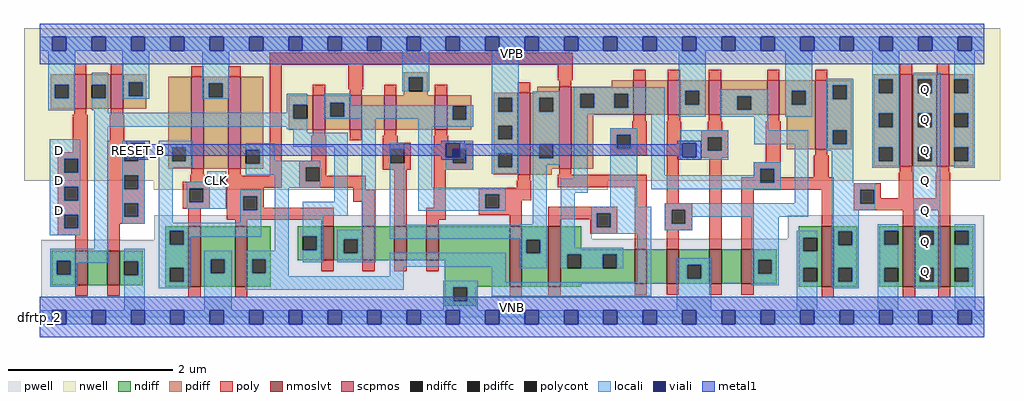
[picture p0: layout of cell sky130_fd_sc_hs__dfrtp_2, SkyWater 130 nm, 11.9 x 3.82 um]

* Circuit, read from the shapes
.subckt sky130_fd_sc_hs__dfrtp_2 CLK D RESET_B VGND VNB VPB VPWR Q
XM1 n1 D n2 VNB sky130_fd_pr__nfet_01v8_lvt w=0.42 l=0.15
XM2 VGND RESET_B n1 VNB sky130_fd_pr__nfet_01v8_lvt w=0.42 l=0.15
XM3 VGND CLK n3 VNB sky130_fd_pr__nfet_01v8_lvt w=0.74 l=0.15
XM4 n4 n3 VGND VNB sky130_fd_pr__nfet_01v8_lvt w=0.74 l=0.15
XM5 n5 n3 n2 VNB sky130_fd_pr__nfet_01v8_lvt w=0.42 l=0.15
XM6 n6 n4 n5 VNB sky130_fd_pr__nfet_01v8_lvt w=0.42 l=0.15
XM7 n7 n8 n6 VNB sky130_fd_pr__nfet_01v8_lvt w=0.42 l=0.15
XM8 VGND RESET_B n7 VNB sky130_fd_pr__nfet_01v8_lvt w=0.42 l=0.15
XM9 n8 n5 VGND VNB sky130_fd_pr__nfet_01v8_lvt w=0.74 l=0.15
XM10 n9 n4 n8 VNB sky130_fd_pr__nfet_01v8_lvt w=0.74 l=0.15
XM11 n10 n3 n9 VNB sky130_fd_pr__nfet_01v8_lvt w=0.42 l=0.15
XM12 VGND n11 n10 VNB sky130_fd_pr__nfet_01v8_lvt w=0.42 l=0.15
XM13 n12 RESET_B VGND VNB sky130_fd_pr__nfet_01v8_lvt w=0.42 l=0.15
XM14 n11 n9 n12 VNB sky130_fd_pr__nfet_01v8_lvt w=0.42 l=0.15
XM15 n13 n9 VGND VNB sky130_fd_pr__nfet_01v8_lvt w=0.74 l=0.15
XM16 Q n13 VGND VNB sky130_fd_pr__nfet_01v8_lvt w=0.74 l=0.15 m=2
XM17 n2 D VPWR VPB sky130_fd_pr__pfet_01v8 w=0.42 l=0.15
XM18 VPWR RESET_B n2 VPB sky130_fd_pr__pfet_01v8 w=0.42 l=0.15
XM19 VPWR CLK n3 VPB sky130_fd_pr__pfet_01v8 w=1.12 l=0.15
XM20 n4 n3 VPWR VPB sky130_fd_pr__pfet_01v8 w=1.12 l=0.15
XM21 n5 n4 n2 VPB sky130_fd_pr__pfet_01v8 w=0.42 l=0.15
XM22 n14 n3 n5 VPB sky130_fd_pr__pfet_01v8 w=0.42 l=0.15
XM23 VPWR n8 n14 VPB sky130_fd_pr__pfet_01v8 w=0.42 l=0.15
XM24 n5 RESET_B VPWR VPB sky130_fd_pr__pfet_01v8 w=0.42 l=0.15
XM25 n8 n5 VPWR VPB sky130_fd_pr__pfet_01v8 w=1 l=0.15
XM26 n9 n3 n8 VPB sky130_fd_pr__pfet_01v8 w=1 l=0.15
XM27 n15 n4 n9 VPB sky130_fd_pr__pfet_01v8 w=0.42 l=0.15
XM28 VPWR n11 n15 VPB sky130_fd_pr__pfet_01v8 w=0.42 l=0.15
XM29 n11 RESET_B VPWR VPB sky130_fd_pr__pfet_01v8 w=0.42 l=0.15
XM30 VPWR n9 n11 VPB sky130_fd_pr__pfet_01v8 w=0.42 l=0.15
XM31 n13 n9 VPWR VPB sky130_fd_pr__pfet_01v8 w=0.84 l=0.15
XM32 Q n13 VPWR VPB sky130_fd_pr__pfet_01v8 w=1.12 l=0.15 m=2
.ends

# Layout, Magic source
magic
tech sky130A
magscale 1 2
<< nwell >>
rect -38 332 2342 704
rect 278 311 1386 332
<< pwell >>
rect 280 191 1347 248
rect 1825 191 2303 248
rect 280 188 2303 191
rect 4 49 2303 188
rect 0 0 2304 49
<< scpmos >>
rect 84 508 114 592
rect 174 508 204 592
rect 370 362 400 586
rect 460 362 490 586
rect 666 457 696 541
rect 756 457 786 541
rect 840 457 870 541
rect 964 457 994 541
rect 1166 347 1196 547
rect 1267 362 1297 562
rect 1448 493 1478 577
rect 1532 493 1562 577
rect 1632 493 1662 577
rect 1774 493 1804 577
rect 1891 409 1921 577
rect 2098 368 2128 592
rect 2188 368 2218 592
<< nmoslvt >>
rect 87 78 117 162
rect 165 78 195 162
rect 363 74 393 222
rect 477 74 507 222
rect 687 138 717 222
rect 787 138 817 222
rect 865 138 895 222
rect 943 138 973 222
rect 1146 74 1176 222
rect 1241 74 1271 222
rect 1451 81 1481 165
rect 1529 81 1559 165
rect 1633 81 1663 165
rect 1711 81 1741 165
rect 1907 74 1937 222
rect 2105 74 2135 222
rect 2191 74 2221 222
<< ndiff >>
rect 306 210 363 222
rect 306 176 318 210
rect 352 176 363 210
rect 30 137 87 162
rect 30 103 42 137
rect 76 103 87 137
rect 30 78 87 103
rect 117 78 165 162
rect 195 136 252 162
rect 195 102 206 136
rect 240 102 252 136
rect 195 78 252 102
rect 306 120 363 176
rect 306 86 318 120
rect 352 86 363 120
rect 306 74 363 86
rect 393 141 477 222
rect 393 107 418 141
rect 452 107 477 141
rect 393 74 477 107
rect 507 141 564 222
rect 507 107 518 141
rect 552 107 564 141
rect 630 197 687 222
rect 630 163 642 197
rect 676 163 687 197
rect 630 138 687 163
rect 717 190 787 222
rect 717 156 742 190
rect 776 156 787 190
rect 717 138 787 156
rect 817 138 865 222
rect 895 138 943 222
rect 973 138 1146 222
rect 507 74 564 107
rect 988 74 1146 138
rect 1176 189 1241 222
rect 1176 155 1187 189
rect 1221 155 1241 189
rect 1176 74 1241 155
rect 1271 165 1321 222
rect 1851 194 1907 222
rect 1271 153 1451 165
rect 1271 119 1287 153
rect 1321 119 1373 153
rect 1407 119 1451 153
rect 1271 81 1451 119
rect 1481 81 1529 165
rect 1559 127 1633 165
rect 1559 93 1579 127
rect 1613 93 1633 127
rect 1559 81 1633 93
rect 1663 81 1711 165
rect 1741 140 1797 165
rect 1741 106 1752 140
rect 1786 106 1797 140
rect 1741 81 1797 106
rect 1851 160 1862 194
rect 1896 160 1907 194
rect 1851 120 1907 160
rect 1851 86 1862 120
rect 1896 86 1907 120
rect 1271 74 1321 81
rect 988 73 1065 74
rect 988 39 1009 73
rect 1043 39 1065 73
rect 1851 74 1907 86
rect 1937 209 1994 222
rect 1937 175 1948 209
rect 1982 175 1994 209
rect 1937 120 1994 175
rect 1937 86 1948 120
rect 1982 86 1994 120
rect 1937 74 1994 86
rect 2048 210 2105 222
rect 2048 176 2060 210
rect 2094 176 2105 210
rect 2048 120 2105 176
rect 2048 86 2060 120
rect 2094 86 2105 120
rect 2048 74 2105 86
rect 2135 210 2191 222
rect 2135 176 2146 210
rect 2180 176 2191 210
rect 2135 120 2191 176
rect 2135 86 2146 120
rect 2180 86 2191 120
rect 2135 74 2191 86
rect 2221 210 2277 222
rect 2221 176 2232 210
rect 2266 176 2277 210
rect 2221 120 2277 176
rect 2221 86 2232 120
rect 2266 86 2277 120
rect 2221 74 2277 86
rect 988 27 1065 39
<< pdiff >>
rect 27 567 84 592
rect 27 533 37 567
rect 71 533 84 567
rect 27 508 84 533
rect 114 567 174 592
rect 114 533 127 567
rect 161 533 174 567
rect 114 508 174 533
rect 204 573 260 592
rect 204 539 217 573
rect 251 539 260 573
rect 204 508 260 539
rect 314 414 370 586
rect 314 380 323 414
rect 357 380 370 414
rect 314 362 370 380
rect 400 570 460 586
rect 400 536 413 570
rect 447 536 460 570
rect 400 362 460 536
rect 490 408 546 586
rect 490 374 503 408
rect 537 374 546 408
rect 490 362 546 374
rect 888 585 946 597
rect 888 551 900 585
rect 934 551 946 585
rect 2034 580 2098 592
rect 888 541 946 551
rect 1395 562 1448 577
rect 1214 547 1267 562
rect 608 518 666 541
rect 608 484 619 518
rect 653 484 666 518
rect 608 457 666 484
rect 696 523 756 541
rect 696 489 709 523
rect 743 489 756 523
rect 696 457 756 489
rect 786 457 840 541
rect 870 457 964 541
rect 994 515 1053 541
rect 994 481 1007 515
rect 1041 481 1053 515
rect 994 457 1053 481
rect 1107 535 1166 547
rect 1107 501 1119 535
rect 1153 501 1166 535
rect 1107 467 1166 501
rect 1107 433 1119 467
rect 1153 433 1166 467
rect 1107 399 1166 433
rect 1107 365 1119 399
rect 1153 365 1166 399
rect 1107 347 1166 365
rect 1196 535 1267 547
rect 1196 501 1219 535
rect 1253 501 1267 535
rect 1196 421 1267 501
rect 1196 387 1219 421
rect 1253 387 1267 421
rect 1196 362 1267 387
rect 1297 545 1448 562
rect 1297 511 1319 545
rect 1353 511 1401 545
rect 1435 511 1448 545
rect 1297 493 1448 511
rect 1478 493 1532 577
rect 1562 552 1632 577
rect 1562 518 1575 552
rect 1609 518 1632 552
rect 1562 493 1632 518
rect 1662 539 1774 577
rect 1662 505 1701 539
rect 1735 505 1774 539
rect 1662 493 1774 505
rect 1804 552 1891 577
rect 1804 518 1834 552
rect 1868 518 1891 552
rect 1804 493 1891 518
rect 1297 362 1350 493
rect 1196 347 1249 362
rect 1822 409 1891 493
rect 1921 565 1980 577
rect 1921 531 1934 565
rect 1968 531 1980 565
rect 1921 456 1980 531
rect 1921 422 1934 456
rect 1968 422 1980 456
rect 1921 409 1980 422
rect 2034 546 2046 580
rect 2080 546 2098 580
rect 2034 497 2098 546
rect 2034 463 2046 497
rect 2080 463 2098 497
rect 2034 414 2098 463
rect 2034 380 2046 414
rect 2080 380 2098 414
rect 2034 368 2098 380
rect 2128 580 2188 592
rect 2128 546 2141 580
rect 2175 546 2188 580
rect 2128 497 2188 546
rect 2128 463 2141 497
rect 2175 463 2188 497
rect 2128 414 2188 463
rect 2128 380 2141 414
rect 2175 380 2188 414
rect 2128 368 2188 380
rect 2218 580 2277 592
rect 2218 546 2231 580
rect 2265 546 2277 580
rect 2218 497 2277 546
rect 2218 463 2231 497
rect 2265 463 2277 497
rect 2218 414 2277 463
rect 2218 380 2231 414
rect 2265 380 2277 414
rect 2218 368 2277 380
<< ndiffc >>
rect 318 176 352 210
rect 42 103 76 137
rect 206 102 240 136
rect 318 86 352 120
rect 418 107 452 141
rect 518 107 552 141
rect 642 163 676 197
rect 742 156 776 190
rect 1187 155 1221 189
rect 1287 119 1321 153
rect 1373 119 1407 153
rect 1579 93 1613 127
rect 1752 106 1786 140
rect 1862 160 1896 194
rect 1862 86 1896 120
rect 1009 39 1043 73
rect 1948 175 1982 209
rect 1948 86 1982 120
rect 2060 176 2094 210
rect 2060 86 2094 120
rect 2146 176 2180 210
rect 2146 86 2180 120
rect 2232 176 2266 210
rect 2232 86 2266 120
<< pdiffc >>
rect 37 533 71 567
rect 127 533 161 567
rect 217 539 251 573
rect 323 380 357 414
rect 413 536 447 570
rect 503 374 537 408
rect 900 551 934 585
rect 619 484 653 518
rect 709 489 743 523
rect 1007 481 1041 515
rect 1119 501 1153 535
rect 1119 433 1153 467
rect 1119 365 1153 399
rect 1219 501 1253 535
rect 1219 387 1253 421
rect 1319 511 1353 545
rect 1401 511 1435 545
rect 1575 518 1609 552
rect 1701 505 1735 539
rect 1834 518 1868 552
rect 1934 531 1968 565
rect 1934 422 1968 456
rect 2046 546 2080 580
rect 2046 463 2080 497
rect 2046 380 2080 414
rect 2141 546 2175 580
rect 2141 463 2175 497
rect 2141 380 2175 414
rect 2231 546 2265 580
rect 2231 463 2265 497
rect 2231 380 2265 414
<< poly >>
rect 84 592 114 618
rect 174 592 204 618
rect 561 615 1300 645
rect 370 586 400 612
rect 460 586 490 612
rect 84 493 114 508
rect 174 493 204 508
rect 81 402 117 493
rect 171 430 207 493
rect 44 386 117 402
rect 44 352 60 386
rect 94 352 117 386
rect 44 318 117 352
rect 44 284 60 318
rect 94 284 117 318
rect 44 250 117 284
rect 44 216 60 250
rect 94 216 117 250
rect 44 200 117 216
rect 87 162 117 200
rect 165 414 257 430
rect 165 380 207 414
rect 241 380 257 414
rect 165 346 257 380
rect 370 347 400 362
rect 460 347 490 362
rect 165 312 207 346
rect 241 312 257 346
rect 367 330 403 347
rect 457 345 493 347
rect 561 345 591 615
rect 666 541 696 567
rect 753 556 789 615
rect 756 541 786 556
rect 840 541 870 567
rect 1264 577 1300 615
rect 1448 577 1478 603
rect 1532 577 1562 603
rect 1632 577 1662 603
rect 1774 577 1804 603
rect 1891 577 1921 603
rect 2098 592 2128 618
rect 2188 592 2218 618
rect 964 541 994 567
rect 1166 547 1196 573
rect 1267 562 1297 577
rect 666 442 696 457
rect 663 381 699 442
rect 756 431 786 457
rect 840 442 870 457
rect 964 442 994 457
rect 165 278 257 312
rect 165 244 207 278
rect 241 244 257 278
rect 349 314 415 330
rect 349 280 365 314
rect 399 280 415 314
rect 349 264 415 280
rect 457 315 591 345
rect 633 365 699 381
rect 633 331 649 365
rect 683 345 699 365
rect 837 425 873 442
rect 961 425 997 442
rect 837 409 905 425
rect 837 375 855 409
rect 889 375 905 409
rect 837 359 905 375
rect 961 409 1057 425
rect 961 375 1007 409
rect 1041 375 1057 409
rect 961 359 1057 375
rect 683 331 795 345
rect 633 315 795 331
rect 457 294 547 315
rect 165 228 257 244
rect 165 162 195 228
rect 363 222 393 264
rect 457 260 497 294
rect 531 267 547 294
rect 765 311 795 315
rect 765 281 817 311
rect 531 260 717 267
rect 457 237 717 260
rect 477 222 507 237
rect 687 222 717 237
rect 787 222 817 281
rect 865 222 895 359
rect 961 267 991 359
rect 1448 478 1478 493
rect 1532 478 1562 493
rect 1632 478 1662 493
rect 1774 478 1804 493
rect 1445 461 1481 478
rect 1391 445 1481 461
rect 1391 411 1407 445
rect 1441 411 1481 445
rect 1391 395 1481 411
rect 1529 395 1565 478
rect 1629 455 1665 478
rect 1613 439 1679 455
rect 1613 405 1629 439
rect 1663 405 1679 439
rect 1267 347 1297 362
rect 1166 332 1196 347
rect 1163 315 1199 332
rect 1264 317 1481 347
rect 943 237 991 267
rect 1071 299 1199 315
rect 1071 265 1087 299
rect 1121 285 1199 299
rect 1121 265 1176 285
rect 1071 249 1176 265
rect 943 222 973 237
rect 1146 222 1176 249
rect 1241 253 1409 269
rect 1241 239 1359 253
rect 1241 222 1271 239
rect 87 52 117 78
rect 165 52 195 78
rect 687 112 717 138
rect 787 112 817 138
rect 865 112 895 138
rect 943 112 973 138
rect 1343 219 1359 239
rect 1393 219 1409 253
rect 1343 203 1409 219
rect 1451 165 1481 317
rect 1529 278 1559 395
rect 1613 389 1679 405
rect 1525 262 1591 278
rect 1525 228 1541 262
rect 1575 228 1591 262
rect 1525 212 1591 228
rect 1529 165 1559 212
rect 1633 165 1663 389
rect 1771 378 1807 478
rect 1891 394 1921 409
rect 1741 362 1807 378
rect 1741 341 1757 362
rect 1711 328 1757 341
rect 1791 341 1807 362
rect 1888 341 1924 394
rect 2098 353 2128 368
rect 2188 353 2218 368
rect 1791 328 1937 341
rect 1711 311 1937 328
rect 1711 165 1741 311
rect 1907 222 1937 311
rect 1985 310 2051 326
rect 1985 276 2001 310
rect 2035 290 2051 310
rect 2095 290 2131 353
rect 2185 290 2221 353
rect 2035 276 2221 290
rect 1985 260 2221 276
rect 2105 222 2135 260
rect 2191 222 2221 260
rect 363 48 393 74
rect 477 48 507 74
rect 1146 48 1176 74
rect 1241 48 1271 74
rect 1451 55 1481 81
rect 1529 55 1559 81
rect 1633 55 1663 81
rect 1711 55 1741 81
rect 1907 48 1937 74
rect 2105 48 2135 74
rect 2191 48 2221 74
<< polycont >>
rect 60 352 94 386
rect 60 284 94 318
rect 60 216 94 250
rect 207 380 241 414
rect 207 312 241 346
rect 207 244 241 278
rect 365 280 399 314
rect 649 331 683 365
rect 855 375 889 409
rect 1007 375 1041 409
rect 497 260 531 294
rect 1407 411 1441 445
rect 1629 405 1663 439
rect 1087 265 1121 299
rect 1359 219 1393 253
rect 1541 228 1575 262
rect 1757 328 1791 362
rect 2001 276 2035 310
<< locali >>
rect 0 649 31 683
rect 65 649 127 683
rect 161 649 223 683
rect 257 649 319 683
rect 353 649 415 683
rect 449 649 511 683
rect 545 649 607 683
rect 641 649 703 683
rect 737 649 799 683
rect 833 649 895 683
rect 929 649 991 683
rect 1025 649 1087 683
rect 1121 649 1183 683
rect 1217 649 1279 683
rect 1313 649 1375 683
rect 1409 649 1471 683
rect 1505 649 1567 683
rect 1601 649 1663 683
rect 1697 649 1759 683
rect 1793 649 1855 683
rect 1889 649 1951 683
rect 1985 649 2047 683
rect 2081 649 2143 683
rect 2177 649 2239 683
rect 2273 649 2304 683
rect 21 567 87 649
rect 21 533 37 567
rect 71 533 87 567
rect 21 504 87 533
rect 127 567 167 596
rect 161 533 167 567
rect 127 504 167 533
rect 201 573 267 649
rect 201 539 217 573
rect 251 539 267 573
rect 201 532 267 539
rect 397 570 463 649
rect 397 536 413 570
rect 447 536 463 570
rect 884 585 950 649
rect 884 551 900 585
rect 934 551 950 585
rect 397 532 463 536
rect 133 498 167 504
rect 603 518 653 545
rect 603 498 619 518
rect 133 484 619 498
rect 133 464 653 484
rect 693 523 759 545
rect 693 489 709 523
rect 743 517 759 523
rect 1103 535 1169 649
rect 743 515 1057 517
rect 743 489 1007 515
rect 693 483 1007 489
rect 25 386 99 434
rect 25 352 60 386
rect 94 352 99 386
rect 25 318 99 352
rect 25 284 60 318
rect 94 284 99 318
rect 25 250 99 284
rect 25 216 60 250
rect 94 216 99 250
rect 25 200 99 216
rect 133 166 167 464
rect 603 458 653 464
rect 619 449 653 458
rect 201 424 257 430
rect 201 414 223 424
rect 201 380 207 414
rect 241 380 257 390
rect 201 346 257 380
rect 201 312 207 346
rect 241 312 257 346
rect 201 278 257 312
rect 201 244 207 278
rect 241 244 257 278
rect 201 228 257 244
rect 291 414 373 430
rect 291 380 323 414
rect 357 380 373 414
rect 291 364 373 380
rect 503 408 574 424
rect 619 415 752 449
rect 537 381 574 408
rect 537 374 684 381
rect 503 365 684 374
rect 291 230 325 364
rect 409 330 455 356
rect 503 347 649 365
rect 359 314 455 330
rect 359 280 365 314
rect 399 280 455 314
rect 574 331 649 347
rect 683 331 684 365
rect 574 315 684 331
rect 359 264 455 280
rect 489 294 540 310
rect 489 260 497 294
rect 531 260 540 294
rect 489 230 540 260
rect 291 210 540 230
rect 291 176 318 210
rect 352 196 540 210
rect 352 176 368 196
rect 26 137 167 166
rect 26 103 42 137
rect 76 132 167 137
rect 206 136 256 166
rect 76 103 92 132
rect 26 74 92 103
rect 240 102 256 136
rect 206 17 256 102
rect 291 120 368 176
rect 574 162 608 315
rect 718 281 752 415
rect 291 86 318 120
rect 352 86 368 120
rect 291 70 368 86
rect 402 141 468 162
rect 402 107 418 141
rect 452 107 468 141
rect 402 17 468 107
rect 502 141 608 162
rect 502 107 518 141
rect 552 107 608 141
rect 642 247 752 281
rect 642 197 692 247
rect 786 213 820 483
rect 923 481 1007 483
rect 1041 481 1057 515
rect 923 464 1057 481
rect 1103 501 1119 535
rect 1153 501 1169 535
rect 1103 467 1169 501
rect 676 163 692 197
rect 642 134 692 163
rect 726 190 820 213
rect 854 409 889 425
rect 854 375 855 409
rect 854 225 889 375
rect 923 315 957 464
rect 1103 433 1119 467
rect 1153 433 1169 467
rect 991 424 1057 430
rect 1025 409 1057 424
rect 991 375 1007 390
rect 1041 375 1057 409
rect 991 359 1057 375
rect 1103 399 1169 433
rect 1103 365 1119 399
rect 1153 365 1169 399
rect 1103 349 1169 365
rect 1203 535 1269 551
rect 1203 501 1219 535
rect 1253 501 1269 535
rect 1203 421 1269 501
rect 1203 387 1219 421
rect 1253 387 1269 421
rect 1203 371 1269 387
rect 1303 545 1525 561
rect 1303 511 1319 545
rect 1353 511 1401 545
rect 1435 511 1525 545
rect 1303 495 1525 511
rect 923 299 1137 315
rect 923 265 1087 299
rect 1121 265 1137 299
rect 923 259 1137 265
rect 1203 226 1237 371
rect 1303 337 1337 495
rect 1171 225 1237 226
rect 854 191 1237 225
rect 726 156 742 190
rect 776 156 820 190
rect 1171 189 1237 191
rect 726 134 820 156
rect 502 100 608 107
rect 854 123 1137 157
rect 854 100 888 123
rect 502 66 888 100
rect 984 73 1069 89
rect 984 39 1009 73
rect 1043 39 1069 73
rect 1103 85 1137 123
rect 1171 155 1187 189
rect 1221 155 1237 189
rect 1171 119 1237 155
rect 1271 303 1337 337
rect 1391 445 1457 461
rect 1391 411 1407 445
rect 1441 411 1457 445
rect 1271 169 1305 303
rect 1391 269 1457 411
rect 1491 346 1525 495
rect 1559 552 1625 649
rect 1559 518 1575 552
rect 1609 518 1625 552
rect 1559 489 1625 518
rect 1659 539 1777 555
rect 1659 505 1701 539
rect 1735 505 1777 539
rect 1659 489 1777 505
rect 1818 552 1884 649
rect 1818 518 1834 552
rect 1868 518 1884 552
rect 1818 489 1884 518
rect 1918 565 1984 581
rect 1918 531 1934 565
rect 1968 531 1984 565
rect 1743 455 1777 489
rect 1918 456 1984 531
rect 1561 439 1679 455
rect 1561 424 1629 439
rect 1561 390 1567 424
rect 1601 405 1629 424
rect 1663 405 1679 439
rect 1743 421 1875 455
rect 1601 390 1679 405
rect 1561 384 1679 390
rect 1741 362 1807 378
rect 1741 346 1757 362
rect 1491 328 1757 346
rect 1791 328 1807 362
rect 1491 312 1807 328
rect 1841 278 1875 421
rect 1918 422 1934 456
rect 1968 422 1984 456
rect 1918 406 1984 422
rect 1345 253 1491 269
rect 1345 219 1359 253
rect 1393 219 1491 253
rect 1345 203 1491 219
rect 1525 262 1875 278
rect 1525 228 1541 262
rect 1575 244 1875 262
rect 1932 326 1984 406
rect 2030 580 2096 649
rect 2030 546 2046 580
rect 2080 546 2096 580
rect 2030 497 2096 546
rect 2030 463 2046 497
rect 2080 463 2096 497
rect 2030 414 2096 463
rect 2030 380 2046 414
rect 2080 380 2096 414
rect 2030 364 2096 380
rect 2130 580 2196 596
rect 2130 546 2141 580
rect 2175 546 2196 580
rect 2130 497 2196 546
rect 2130 463 2141 497
rect 2175 463 2196 497
rect 2130 414 2196 463
rect 2130 380 2141 414
rect 2175 380 2196 414
rect 1932 310 2038 326
rect 1932 276 2001 310
rect 2035 276 2038 310
rect 1932 260 2038 276
rect 1575 228 1591 244
rect 1525 212 1591 228
rect 1271 153 1423 169
rect 1271 119 1287 153
rect 1321 119 1373 153
rect 1407 119 1423 153
rect 1457 85 1491 203
rect 1103 51 1491 85
rect 1554 127 1638 143
rect 1554 93 1579 127
rect 1613 93 1638 127
rect 984 17 1069 39
rect 1554 17 1638 93
rect 1736 140 1802 244
rect 1736 106 1752 140
rect 1786 106 1802 140
rect 1736 77 1802 106
rect 1846 194 1896 210
rect 1846 160 1862 194
rect 1846 120 1896 160
rect 1846 86 1862 120
rect 1846 17 1896 86
rect 1932 209 1998 260
rect 1932 175 1948 209
rect 1982 175 1998 209
rect 1932 120 1998 175
rect 1932 86 1948 120
rect 1982 86 1998 120
rect 1932 70 1998 86
rect 2044 210 2094 226
rect 2044 176 2060 210
rect 2044 120 2094 176
rect 2044 86 2060 120
rect 2044 17 2094 86
rect 2130 210 2196 380
rect 2231 580 2281 649
rect 2265 546 2281 580
rect 2231 497 2281 546
rect 2265 463 2281 497
rect 2231 414 2281 463
rect 2265 380 2281 414
rect 2231 364 2281 380
rect 2130 176 2146 210
rect 2180 176 2196 210
rect 2130 120 2196 176
rect 2130 86 2146 120
rect 2180 86 2196 120
rect 2130 70 2196 86
rect 2232 210 2282 226
rect 2266 176 2282 210
rect 2232 120 2282 176
rect 2266 86 2282 120
rect 2232 17 2282 86
rect 0 -17 31 17
rect 65 -17 127 17
rect 161 -17 223 17
rect 257 -17 319 17
rect 353 -17 415 17
rect 449 -17 511 17
rect 545 -17 607 17
rect 641 -17 703 17
rect 737 -17 799 17
rect 833 -17 895 17
rect 929 -17 991 17
rect 1025 -17 1087 17
rect 1121 -17 1183 17
rect 1217 -17 1279 17
rect 1313 -17 1375 17
rect 1409 -17 1471 17
rect 1505 -17 1567 17
rect 1601 -17 1663 17
rect 1697 -17 1759 17
rect 1793 -17 1855 17
rect 1889 -17 1951 17
rect 1985 -17 2047 17
rect 2081 -17 2143 17
rect 2177 -17 2239 17
rect 2273 -17 2304 17
<< viali >>
rect 31 649 65 683
rect 127 649 161 683
rect 223 649 257 683
rect 319 649 353 683
rect 415 649 449 683
rect 511 649 545 683
rect 607 649 641 683
rect 703 649 737 683
rect 799 649 833 683
rect 895 649 929 683
rect 991 649 1025 683
rect 1087 649 1121 683
rect 1183 649 1217 683
rect 1279 649 1313 683
rect 1375 649 1409 683
rect 1471 649 1505 683
rect 1567 649 1601 683
rect 1663 649 1697 683
rect 1759 649 1793 683
rect 1855 649 1889 683
rect 1951 649 1985 683
rect 2047 649 2081 683
rect 2143 649 2177 683
rect 2239 649 2273 683
rect 223 414 257 424
rect 223 390 241 414
rect 241 390 257 414
rect 991 409 1025 424
rect 991 390 1007 409
rect 1007 390 1025 409
rect 1567 390 1601 424
rect 31 -17 65 17
rect 127 -17 161 17
rect 223 -17 257 17
rect 319 -17 353 17
rect 415 -17 449 17
rect 511 -17 545 17
rect 607 -17 641 17
rect 703 -17 737 17
rect 799 -17 833 17
rect 895 -17 929 17
rect 991 -17 1025 17
rect 1087 -17 1121 17
rect 1183 -17 1217 17
rect 1279 -17 1313 17
rect 1375 -17 1409 17
rect 1471 -17 1505 17
rect 1567 -17 1601 17
rect 1663 -17 1697 17
rect 1759 -17 1793 17
rect 1855 -17 1889 17
rect 1951 -17 1985 17
rect 2047 -17 2081 17
rect 2143 -17 2177 17
rect 2239 -17 2273 17
<< metal1 >>
rect 0 683 2304 715
rect 0 649 31 683
rect 65 649 127 683
rect 161 649 223 683
rect 257 649 319 683
rect 353 649 415 683
rect 449 649 511 683
rect 545 649 607 683
rect 641 649 703 683
rect 737 649 799 683
rect 833 649 895 683
rect 929 649 991 683
rect 1025 649 1087 683
rect 1121 649 1183 683
rect 1217 649 1279 683
rect 1313 649 1375 683
rect 1409 649 1471 683
rect 1505 649 1567 683
rect 1601 649 1663 683
rect 1697 649 1759 683
rect 1793 649 1855 683
rect 1889 649 1951 683
rect 1985 649 2047 683
rect 2081 649 2143 683
rect 2177 649 2239 683
rect 2273 649 2304 683
rect 0 617 2304 649
rect 211 424 269 430
rect 211 390 223 424
rect 257 421 269 424
rect 979 424 1037 430
rect 979 421 991 424
rect 257 393 991 421
rect 257 390 269 393
rect 211 384 269 390
rect 979 390 991 393
rect 1025 421 1037 424
rect 1555 424 1613 430
rect 1555 421 1567 424
rect 1025 393 1567 421
rect 1025 390 1037 393
rect 979 384 1037 390
rect 1555 390 1567 393
rect 1601 390 1613 424
rect 1555 384 1613 390
rect 0 17 2304 49
rect 0 -17 31 17
rect 65 -17 127 17
rect 161 -17 223 17
rect 257 -17 319 17
rect 353 -17 415 17
rect 449 -17 511 17
rect 545 -17 607 17
rect 641 -17 703 17
rect 737 -17 799 17
rect 833 -17 895 17
rect 929 -17 991 17
rect 1025 -17 1087 17
rect 1121 -17 1183 17
rect 1217 -17 1279 17
rect 1313 -17 1375 17
rect 1409 -17 1471 17
rect 1505 -17 1567 17
rect 1601 -17 1663 17
rect 1697 -17 1759 17
rect 1793 -17 1855 17
rect 1889 -17 1951 17
rect 1985 -17 2047 17
rect 2081 -17 2143 17
rect 2177 -17 2239 17
rect 2273 -17 2304 17
rect 0 -49 2304 -17
<< labels >>
rlabel comment s 0 0 0 0 4 dfrtp_2
flabel pwell s 0 0 2304 49 0 FreeSans 200 0 0 0 VNB
port 5 nsew ground bidirectional
flabel nwell s 0 617 2304 666 0 FreeSans 200 0 0 0 VPB
port 6 nsew power bidirectional
flabel metal1 s 223 390 257 424 0 FreeSans 340 0 0 0 RESET_B
port 3 nsew signal input
flabel metal1 s 0 617 2304 666 0 FreeSans 340 0 0 0 VPWR
port 7 nsew power bidirectional
flabel metal1 s 0 0 2304 49 0 FreeSans 340 0 0 0 VGND
port 4 nsew ground bidirectional
flabel locali s 31 242 65 276 0 FreeSans 340 0 0 0 D
port 2 nsew signal input
flabel locali s 31 316 65 350 0 FreeSans 340 0 0 0 D
port 2 nsew signal input
flabel locali s 31 390 65 424 0 FreeSans 340 0 0 0 D
port 2 nsew signal input
flabel locali s 415 316 449 350 0 FreeSans 340 0 0 0 CLK
port 1 nsew clock input
flabel locali s 2143 94 2177 128 0 FreeSans 340 0 0 0 Q
port 8 nsew signal output
flabel locali s 2143 168 2177 202 0 FreeSans 340 0 0 0 Q
port 8 nsew signal output
flabel locali s 2143 242 2177 276 0 FreeSans 340 0 0 0 Q
port 8 nsew signal output
flabel locali s 2143 316 2177 350 0 FreeSans 340 0 0 0 Q
port 8 nsew signal output
flabel locali s 2143 390 2177 424 0 FreeSans 340 0 0 0 Q
port 8 nsew signal output
flabel locali s 2143 464 2177 498 0 FreeSans 340 0 0 0 Q
port 8 nsew signal output
flabel locali s 2143 538 2177 572 0 FreeSans 340 0 0 0 Q
port 8 nsew signal output
<< properties >>
string LEFsite unit
string LEFclass CORE
string FIXED_BBOX 0 0 2304 666
string GDS_FILE $PDKPATH/libs.ref/sky130_fd_sc_hs/gds/sky130_fd_sc_hs.gds
string LEFsymmetry X Y R90
string GDS_END 447048
string GDS_START 429658
<< end >>
